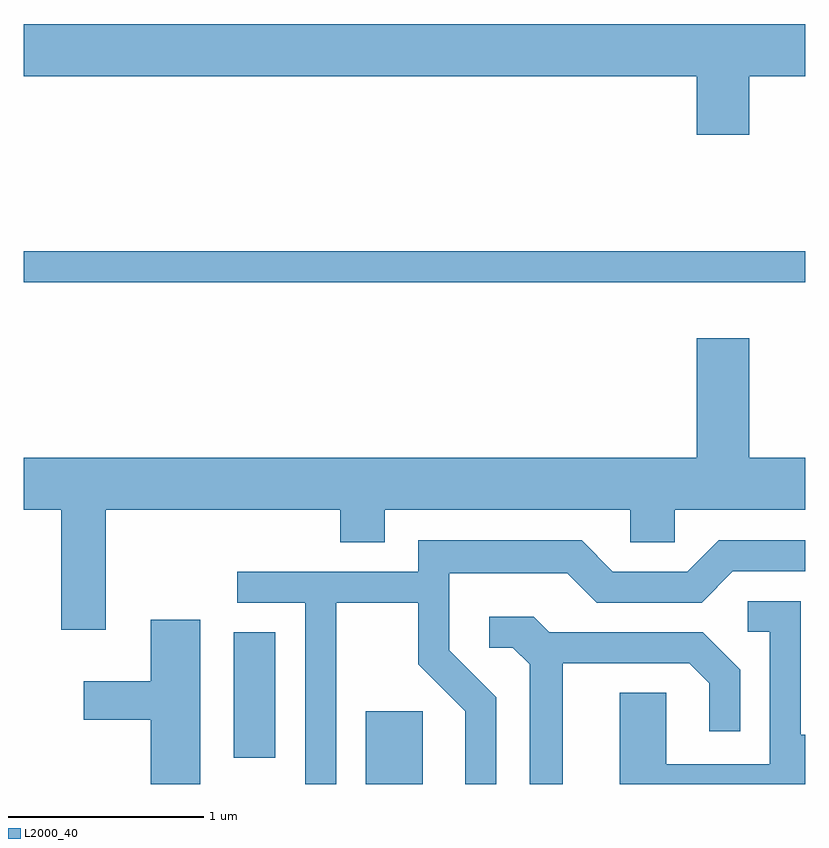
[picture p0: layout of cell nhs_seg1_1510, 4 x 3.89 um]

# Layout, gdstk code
import gdstk
lib = gdstk.Library(unit=1e-6, precision=1e-09)
def R(c, l, rs):  # rectangles x0, y0, x1, y1
    for r in rs: c.add(gdstk.rectangle(r[:2], r[2:], *l))
def P(c, l, *ps):  # polygons
    for p in ps: c.add(gdstk.Polygon(p, *l))
L2000_40 = (2000, 40)

nhs_seg1_1510 = lib.new_cell('nhs_seg1_1510')
R(nhs_seg1_1510, L2000_40, [(233.361,913.712,233.654,914.084), (232.686,913.846,232.899,914.489), (231.611,916.281,235.611,916.439)])
P(nhs_seg1_1510, L2000_40, [(235.324,917.336),(235.611,917.336),(235.611,917.604),(231.611,917.604),(231.611,917.336),(235.056,917.336),(235.056,917.036),(235.324,917.036)],
  [(232.029,915.116),(233.231,915.116),(233.231,914.951),(233.459,914.951),(233.459,915.116),(234.716,915.116),(234.716,914.951),(234.944,914.951),(234.944,915.116),(235.611,915.116),(235.611,915.384),(235.324,915.384),(235.324,915.994),(235.056,915.994),(235.056,915.384),(231.611,915.384),(231.611,915.116),(231.801,915.116),(231.801,914.501),(232.029,914.501)],
  [(233.209,914.641),(233.631,914.641),(233.631,914.324),(233.871,914.084),(233.871,913.712),(234.029,913.712),(234.029,914.157),(233.789,914.397),(233.789,914.791),(234.394,914.791),(234.544,914.641),(235.082,914.641),(235.242,914.801),(235.611,914.801),(235.611,914.959),(235.169,914.959),(235.009,914.799),(234.627,914.799),(234.467,914.959),(233.631,914.959),(233.631,914.799),(232.703,914.799),(232.703,914.641),(233.051,914.641),(233.051,913.712),(233.209,913.712)],
  [(235.611,913.964),(235.589,913.964),(235.589,914.649),(235.318,914.649),(235.318,914.491),(235.431,914.491),(235.431,913.814),(234.899,913.814),(234.899,914.179),(234.661,914.179),(234.661,913.712),(235.611,913.712)],
  [(234.369,914.331),(235.019,914.331),(235.121,914.229),(235.121,913.983),(235.279,913.983),(235.279,914.297),(235.087,914.489),(234.302,914.489),(234.222,914.569),(233.993,914.569),(233.993,914.411),(234.114,914.411),(234.201,914.324),(234.201,913.712),(234.369,913.712)],
  [(232.514,914.554),(232.261,914.554),(232.261,914.239),(231.916,914.239),(231.916,914.041),(232.261,914.041),(232.261,913.712),(232.514,913.712)])

lib.write_gds('nhs_seg1_1510.gds')
